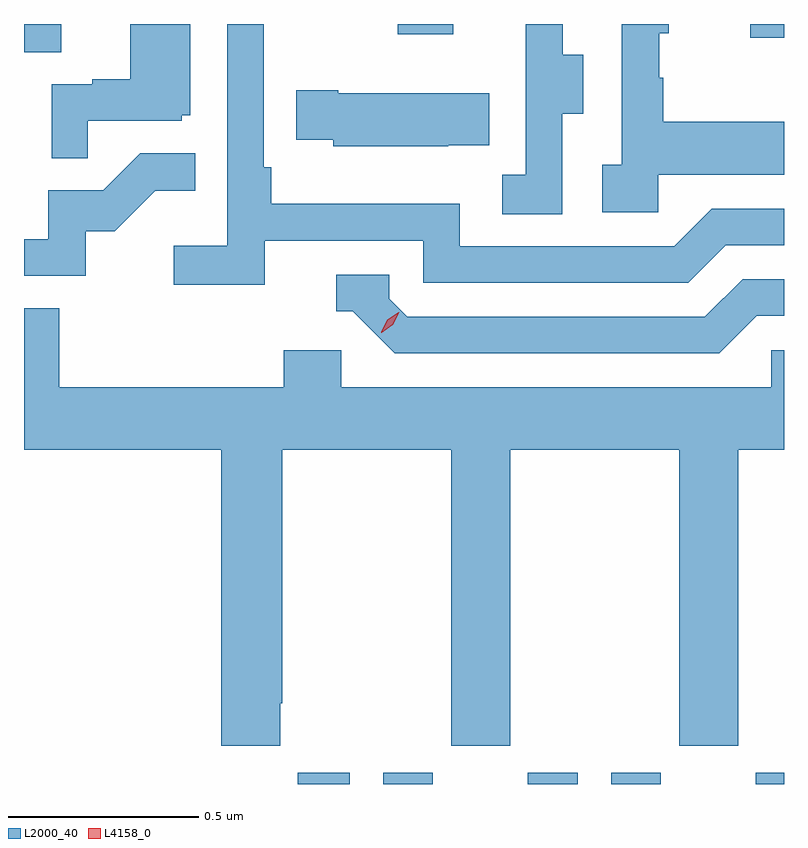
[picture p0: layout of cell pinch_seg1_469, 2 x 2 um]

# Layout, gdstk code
import gdstk
lib = gdstk.Library(unit=1e-6, precision=1e-09)
def R(c, l, rs):  # rectangles x0, y0, x1, y1
    for r in rs: c.add(gdstk.rectangle(r[:2], r[2:], *l))
def P(c, l, *ps):  # polygons
    for p in ps: c.add(gdstk.Polygon(p, *l))
L2000_40 = (2000, 40)
L4158_0 = (4158, 0)

pinch_seg1_469 = lib.new_cell('pinch_seg1_469')
R(pinch_seg1_469, L2000_40, [(989.183,510.892,989.32,510.922), (989.408,510.892,989.539,510.922), (989.789,510.892,989.92,510.922), (990.008,510.892,990.139,510.922), (990.389,510.892,990.463,510.922), (988.463,512.818,988.561,512.892), (990.374,512.856,990.463,512.892), (989.446,512.865,989.593,512.892)])
P(pinch_seg1_469, L2000_40, [(989.88,512.656),(989.935,512.656),(989.935,512.811),(989.881,512.811),(989.881,512.892),(989.783,512.892),(989.783,512.799),(989.784,512.799),(989.784,512.495),(989.721,512.495),(989.721,512.392),(989.88,512.392)],
  [(988.631,512.637),(988.878,512.637),(988.878,512.652),(988.9,512.652),(988.9,512.892),(988.742,512.892),(988.742,512.746),(988.643,512.746),(988.643,512.733),(988.536,512.733),(988.536,512.539),(988.631,512.539)],
  [(989.096,512.322),(989.514,512.322),(989.514,512.211),(990.211,512.211),(990.31,512.31),(990.463,512.31),(990.463,512.406),(990.273,512.406),(990.174,512.307),(989.61,512.307),(989.61,512.419),(989.114,512.419),(989.114,512.515),(989.094,512.515),(989.094,512.892),(988.998,512.892),(988.998,512.308),(988.857,512.308),(988.857,512.206),(989.096,512.206)],
  [(990.132,512.495),(990.463,512.495),(990.463,512.635),(990.145,512.635),(990.145,512.75),(990.135,512.75),(990.135,512.868),(990.16,512.868),(990.16,512.892),(990.036,512.892),(990.036,512.522),(989.985,512.522),(989.985,512.397),(990.132,512.397)],
  [(989.579,512.573),(989.687,512.573),(989.687,512.71),(989.29,512.71),(989.29,512.718),(989.179,512.718),(989.179,512.588),(989.277,512.588),(989.277,512.57),(989.579,512.57)],
  [(988.626,512.346),(988.702,512.346),(988.809,512.453),(988.913,512.453),(988.913,512.552),(988.769,512.552),(988.671,512.454),(988.527,512.454),(988.527,512.325),(988.463,512.325),(988.463,512.229),(988.626,512.229)],
  [(990.391,512.124),(990.463,512.124),(990.463,512.22),(990.354,512.22),(990.255,512.121),(989.472,512.121),(989.424,512.169),(989.424,512.232),(989.285,512.232),(989.285,512.136),(989.328,512.136),(989.439,512.025),(990.292,512.025)],
  [(989.137,511.105),(989.142,511.105),(989.142,511.772),(989.587,511.772),(989.587,510.993),(989.742,510.993),(989.742,511.772),(990.187,511.772),(990.187,510.993),(990.342,510.993),(990.342,511.772),(990.463,511.772),(990.463,512.034),(990.429,512.034),(990.429,511.936),(989.298,511.936),(989.298,512.034),(989.147,512.034),(989.147,511.936),(988.556,511.936),(988.556,512.144),(988.463,512.144),(988.463,511.772),(988.982,511.772),(988.982,510.993),(989.137,510.993)])
P(pinch_seg1_469, L4158_0, [(989.403,512.08),(989.403,512.081),(989.419,512.114),(989.449,512.134),(989.45,512.134),(989.45,512.133),(989.434,512.1),(989.404,512.08)])

lib.write_gds('pinch_seg1_469.gds')
